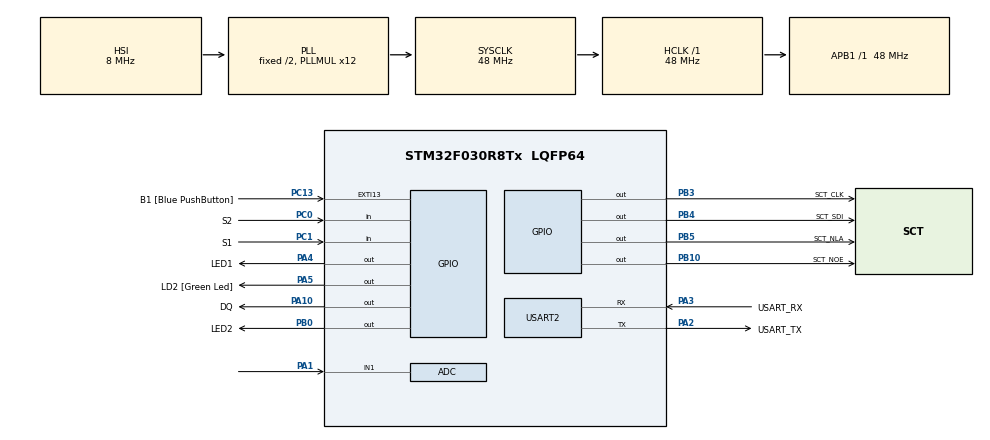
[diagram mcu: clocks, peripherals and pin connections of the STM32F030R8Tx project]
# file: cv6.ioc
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ADC.ContinuousConvMode=ENABLE
ADC.Overrun=ADC_OVR_DATA_OVERWRITTEN
ADC.Resolution=ADC_RESOLUTION_10B
Mcu.Family=STM32F0
Mcu.Name=STM32F030R8Tx
Mcu.Package=LQFP64
PA1.Mode=IN1
PA1.Signal=ADC_IN1
PA10.GPIO_Label=DQ
PA10.GPIO_ModeDefaultOutputPP=GPIO_MODE_OUTPUT_OD
PA10.GPIO_PuPd=GPIO_NOPULL
PA10.Signal=GPIO_Output
PA13.GPIO_Label=TMS
PA13.Mode=Serial_Wire
PA13.Signal=SYS_SWDIO
PA14.GPIO_Label=TCK
PA14.Mode=Serial_Wire
PA14.Signal=SYS_SWCLK
PA2.GPIO_Label=USART_TX
PA2.GPIO_Mode=GPIO_MODE_AF_PP
PA2.GPIO_PuPd=GPIO_NOPULL
PA2.GPIO_Speed=GPIO_SPEED_FREQ_LOW
PA2.Mode=Asynchronous
PA2.Signal=USART2_TX
PA3.GPIO_Label=USART_RX
PA3.GPIO_Mode=GPIO_MODE_AF_PP
PA3.GPIO_PuPd=GPIO_NOPULL
PA3.GPIO_Speed=GPIO_SPEED_FREQ_LOW
PA3.Mode=Asynchronous
PA3.Signal=USART2_RX
PA4.GPIO_Label=LED1
PA4.Signal=GPIO_Output
PA5.GPIO_Label=LD2 [Green Led]
PA5.GPIO_Mode=GPIO_MODE_OUTPUT_PP
PA5.GPIO_PuPd=GPIO_NOPULL
PA5.GPIO_Speed=GPIO_SPEED_FREQ_LOW
PA5.Signal=GPIO_Output
PB0.GPIO_Label=LED2
PB0.Signal=GPIO_Output
PB10.GPIO_Label=SCT_NOE
PB10.Signal=GPIO_Output
PB3.GPIO_Label=SCT_CLK
PB3.Signal=GPIO_Output
PB4.GPIO_Label=SCT_SDI
PB4.Signal=GPIO_Output
PB5.GPIO_Label=SCT_NLA
PB5.Signal=GPIO_Output
PC0.GPIO_Label=S2
PC0.GPIO_PuPd=GPIO_PULLUP
PC0.Signal=GPIO_Input
PC1.GPIO_Label=S1
PC1.GPIO_PuPd=GPIO_PULLUP
PC1.Signal=GPIO_Input
PC13.GPIO_Label=B1 [Blue PushButton]
PC13.GPIO_ModeDefaultEXTI=GPIO_MODE_IT_FALLING
PC13.Signal=GPXTI13
PC14-OSC32_IN.Mode=LSE-External-Oscillator
PC14-OSC32_IN.Signal=RCC_OSC32_IN
PC15-OSC32_OUT.Mode=LSE-External-Oscillator
PC15-OSC32_OUT.Signal=RCC_OSC32_OUT
PF0-OSC_IN.Mode=HSE-External-Clock-Source
PF0-OSC_IN.Signal=RCC_OSC_IN
PF1-OSC_OUT.Signal=RCC_OSC_OUT
ProjectManager.HeapSize=0x200
ProjectManager.StackSize=0x400
ProjectManager.TargetToolchain=STM32CubeIDE
RCC.AHBFreq_Value=48000000
RCC.APB1Freq_Value=48000000
RCC.APB1TimFreq_Value=48000000
RCC.HCLKFreq_Value=48000000
RCC.PLLMUL=RCC_PLL_MUL12
RCC.SYSCLKFreq_VALUE=48000000
RCC.SYSCLKSource=RCC_SYSCLKSOURCE_PLLCLK
USART2.VirtualMode-Asynchronous=VM_ASYNC
board=NUCLEO-F030R8

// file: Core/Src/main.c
/* USER CODE BEGIN Header */
/**
  ******************************************************************************
  * @file           : main.c
  * @brief          : Main program body
  ******************************************************************************
  * @attention
  *
  * Copyright (c) 2022 STMicroelectronics.
  * All rights reserved.
  *
  * This software is licensed under terms that can be found in the LICENSE file
  * in the root directory of this software component.
  * If no LICENSE file comes with this software, it is provided AS-IS.
  *
  ******************************************************************************
  */
/* USER CODE END Header */
#include "main.h"

/* USER CODE BEGIN Includes */
#include "1wire.h"
#include "sct.h"
#include "dat.h"
/* USER CODE END Includes */

ADC_HandleTypeDef hadc;

UART_HandleTypeDef huart2;

void SystemClock_Config(void);
static void MX_GPIO_Init(void);
static void MX_USART2_UART_Init(void);
static void MX_ADC_Init(void);

int main(void)
{

  /* MCU Configuration--------------------------------------------------------*/

  /* Reset of all peripherals, Initializes the Flash interface and the Systick. */
  HAL_Init();

  /* Configure the system clock */
  SystemClock_Config();

  /* Initialize all configured peripherals */
  MX_GPIO_Init();
  MX_USART2_UART_Init();
  MX_ADC_Init();
  /* USER CODE BEGIN 2 */
OWInit();
HAL_ADCEx_Calibration_Start(&hadc);
HAL_ADC_Start(&hadc);
  /* USER CODE END 2 */

  /* Infinite loop */
  while (1)
  {

    /* USER CODE BEGIN 3 */
	  static enum {DALLAS, NTC} state = DALLAS;
	  if (HAL_GPIO_ReadPin(GPIOC, S2_Pin)==0)
	  {
		  state = NTC;
	  }
	  else if (HAL_GPIO_ReadPin(GPIOC, S1_Pin)==0)
	  {
		  state = DALLAS;
	  }
	  if (state == DALLAS)
	  {
		  HAL_GPIO_WritePin(LED1_GPIO_Port, LED1_Pin, 0);
		  HAL_GPIO_WritePin(LED2_GPIO_Port, LED2_Pin, 1);
		  OWConvertAll();
		  static uint16_t lastGetTick = 0;
		  if((HAL_GetTick()-lastGetTick)>=750)
		  {
			  //OWConvertAll();
			  int16_t temp_dallas;
			  OWReadTemperature(&temp_dallas);
			  sct_value(temp_dallas/10, 0); //hodnota k zobrazeni, pocet LED k rozsviceni
		  }
	  }
//	  OWConvertAll();
//	  HAL_Delay(750);
//	  int16_t temp_dallas;
//	  OWReadTemperature(&temp_dallas);
//	  sct_value(temp_dallas/10, 0); //hodnota k zobrazeni, pocet LED k rozsviceni
	  else if (state == NTC)
	  {
		  HAL_GPIO_WritePin(LED2_GPIO_Port, LED2_Pin, 0);
		  HAL_GPIO_WritePin(LED1_GPIO_Port, LED1_Pin, 1);

		  static uint16_t lastGetTick = 0;
		  if((HAL_GetTick()-lastGetTick)>=750)
		  {
//			  HAL_ADCEx_Calibration_Start(&hadc);
//			  HAL_ADC_Start(&hadc);
			  int16_t temp_ntc= NTC_LOOKUPABLE[HAL_ADC_GetValue(&hadc)];
			  sct_value(temp_ntc, 0);
			  lastGetTick=HAL_GetTick();
		  }
	  }
  };
  /* USER CODE END 3 */
}

void SystemClock_Config(void)
{
  RCC_OscInitTypeDef RCC_OscInitStruct = {0};
  RCC_ClkInitTypeDef RCC_ClkInitStruct = {0};

  /** Initializes the RCC Oscillators according to the specified parameters
  * in the RCC_OscInitTypeDef structure.
  */
  RCC_OscInitStruct.OscillatorType = RCC_OSCILLATORTYPE_HSI|RCC_OSCILLATORTYPE_HSI14;
  RCC_OscInitStruct.HSIState = RCC_HSI_ON;
  RCC_OscInitStruct.HSI14State = RCC_HSI14_ON;
  RCC_OscInitStruct.HSICalibrationValue = RCC_HSICALIBRATION_DEFAULT;
  RCC_OscInitStruct.HSI14CalibrationValue = 16;
  RCC_OscInitStruct.PLL.PLLState = RCC_PLL_ON;
  RCC_OscInitStruct.PLL.PLLSource = RCC_PLLSOURCE_HSI;
  RCC_OscInitStruct.PLL.PLLMUL = RCC_PLL_MUL12;
  RCC_OscInitStruct.PLL.PREDIV = RCC_PREDIV_DIV1;
  if (HAL_RCC_OscConfig(&RCC_OscInitStruct) != HAL_OK)
  {
    Error_Handler();
  }

  /** Initializes the CPU, AHB and APB buses clocks
  */
  RCC_ClkInitStruct.ClockType = RCC_CLOCKTYPE_HCLK|RCC_CLOCKTYPE_SYSCLK
                              |RCC_CLOCKTYPE_PCLK1;
  RCC_ClkInitStruct.SYSCLKSource = RCC_SYSCLKSOURCE_PLLCLK;
  RCC_ClkInitStruct.AHBCLKDivider = RCC_SYSCLK_DIV1;
  RCC_ClkInitStruct.APB1CLKDivider = RCC_HCLK_DIV1;

  if (HAL_RCC_ClockConfig(&RCC_ClkInitStruct, FLASH_LATENCY_1) != HAL_OK)
  {
    Error_Handler();
  }
}

static void MX_ADC_Init(void)
{

  ADC_ChannelConfTypeDef sConfig = {0};

  /** Configure the global features of the ADC (Clock, Resolution, Data Alignment and number of conversion)
  */
  hadc.Instance = ADC1;
  hadc.Init.ClockPrescaler = ADC_CLOCK_ASYNC_DIV1;
  hadc.Init.Resolution = ADC_RESOLUTION_10B;
  hadc.Init.DataAlign = ADC_DATAALIGN_RIGHT;
  hadc.Init.ScanConvMode = ADC_SCAN_DIRECTION_FORWARD;
  hadc.Init.EOCSelection = ADC_EOC_SINGLE_CONV;
  hadc.Init.LowPowerAutoWait = DISABLE;
  hadc.Init.LowPowerAutoPowerOff = DISABLE;
  hadc.Init.ContinuousConvMode = ENABLE;
  hadc.Init.DiscontinuousConvMode = DISABLE;
  hadc.Init.ExternalTrigConv = ADC_SOFTWARE_START;
  hadc.Init.ExternalTrigConvEdge = ADC_EXTERNALTRIGCONVEDGE_NONE;
  hadc.Init.DMAContinuousRequests = DISABLE;
  hadc.Init.Overrun = ADC_OVR_DATA_OVERWRITTEN;
  if (HAL_ADC_Init(&hadc) != HAL_OK)
  {
    Error_Handler();
  }

  /** Configure for the selected ADC regular channel to be converted.
  */
  sConfig.Channel = ADC_CHANNEL_1;
  sConfig.Rank = ADC_RANK_CHANNEL_NUMBER;
  sConfig.SamplingTime = ADC_SAMPLETIME_1CYCLE_5;
  if (HAL_ADC_ConfigChannel(&hadc, &sConfig) != HAL_OK)
  {
    Error_Handler();
  }

}

static void MX_USART2_UART_Init(void)
{

  huart2.Instance = USART2;
  huart2.Init.BaudRate = 38400;
  huart2.Init.WordLength = UART_WORDLENGTH_8B;
  huart2.Init.StopBits = UART_STOPBITS_1;
  huart2.Init.Parity = UART_PARITY_NONE;
  huart2.Init.Mode = UART_MODE_TX_RX;
  huart2.Init.HwFlowCtl = UART_HWCONTROL_NONE;
  huart2.Init.OverSampling = UART_OVERSAMPLING_16;
  huart2.Init.OneBitSampling = UART_ONE_BIT_SAMPLE_DISABLE;
  huart2.AdvancedInit.AdvFeatureInit = UART_ADVFEATURE_NO_INIT;
  if (HAL_UART_Init(&huart2) != HAL_OK)
  {
    Error_Handler();
  }

}

static void MX_GPIO_Init(void)
{
  GPIO_InitTypeDef GPIO_InitStruct = {0};

  /* GPIO Ports Clock Enable */
  __HAL_RCC_GPIOC_CLK_ENABLE();
  __HAL_RCC_GPIOF_CLK_ENABLE();
  __HAL_RCC_GPIOA_CLK_ENABLE();
  __HAL_RCC_GPIOB_CLK_ENABLE();

  /*Configure GPIO pin Output Level */
  HAL_GPIO_WritePin(GPIOA, GPIO_PIN_4|GPIO_PIN_5|GPIO_PIN_10, GPIO_PIN_RESET);

  /*Configure GPIO pin Output Level */
  HAL_GPIO_WritePin(GPIOB, GPIO_PIN_0|GPIO_PIN_10|GPIO_PIN_3|GPIO_PIN_4
                          |GPIO_PIN_5, GPIO_PIN_RESET);

  /*Configure GPIO pin : PC13 */
  GPIO_InitStruct.Pin = GPIO_PIN_13;
  GPIO_InitStruct.Mode = GPIO_MODE_IT_FALLING;
  GPIO_InitStruct.Pull = GPIO_NOPULL;
  HAL_GPIO_Init(GPIOC, &GPIO_InitStruct);

  /*Configure GPIO pins : PC0 PC1 */
  GPIO_InitStruct.Pin = GPIO_PIN_0|GPIO_PIN_1;
  GPIO_InitStruct.Mode = GPIO_MODE_INPUT;
  GPIO_InitStruct.Pull = GPIO_PULLUP;
  HAL_GPIO_Init(GPIOC, &GPIO_InitStruct);

  /*Configure GPIO pins : PA4 PA5 */
  GPIO_InitStruct.Pin = GPIO_PIN_4|GPIO_PIN_5;
  GPIO_InitStruct.Mode = GPIO_MODE_OUTPUT_PP;
  GPIO_InitStruct.Pull = GPIO_NOPULL;
  GPIO_InitStruct.Speed = GPIO_SPEED_FREQ_LOW;
  HAL_GPIO_Init(GPIOA, &GPIO_InitStruct);

  /*Configure GPIO pins : PB0 PB10 PB3 PB4
                           PB5 */
  GPIO_InitStruct.Pin = GPIO_PIN_0|GPIO_PIN_10|GPIO_PIN_3|GPIO_PIN_4
                          |GPIO_PIN_5;
  GPIO_InitStruct.Mode = GPIO_MODE_OUTPUT_PP;
  GPIO_InitStruct.Pull = GPIO_NOPULL;
  GPIO_InitStruct.Speed = GPIO_SPEED_FREQ_LOW;
  HAL_GPIO_Init(GPIOB, &GPIO_InitStruct);

  /*Configure GPIO pin : PA10 */
  GPIO_InitStruct.Pin = GPIO_PIN_10;
  GPIO_InitStruct.Mode = GPIO_MODE_OUTPUT_OD;
  GPIO_InitStruct.Pull = GPIO_NOPULL;
  GPIO_InitStruct.Speed = GPIO_SPEED_FREQ_LOW;
  HAL_GPIO_Init(GPIOA, &GPIO_InitStruct);

}

void Error_Handler(void)
{
  __disable_irq();
  while (1)
  {
  }
}
